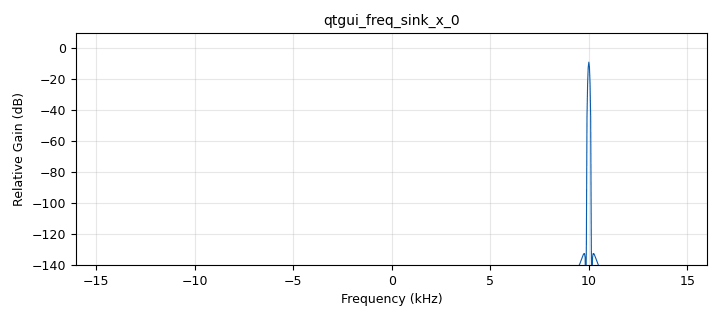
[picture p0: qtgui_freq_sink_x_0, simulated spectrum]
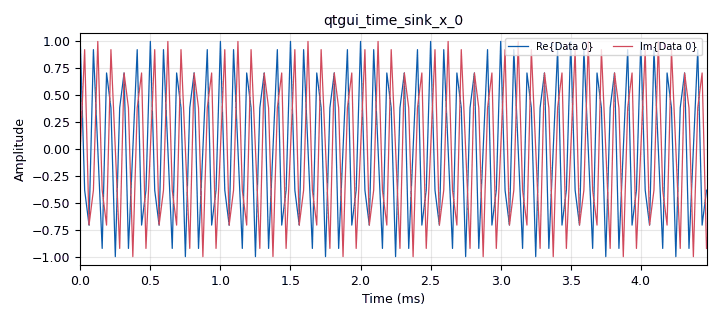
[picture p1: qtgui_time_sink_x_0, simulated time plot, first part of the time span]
options:
  parameters:
    generate_options: qt_gui
    id: andreteo
    output_language: python
    title: HR/BR Using Wireless and Machine Learning
  states: {}

blocks:
- name: samp_rate
  id: variable
  parameters:
    value: '32000'
  states: {}
- name: signal_source_freq
  id: variable
  parameters:
    value: ''
  states: {state: disabled}
- name: variable_qtgui_chooser_0
  id: variable_qtgui_chooser
  parameters:
    label0: 'Frequency: 10000'
    label1: 'Frequency: 1000'
    label2: 'Frequency: 2000'
    num_opts: '3'
    option0: '10000'
    option1: '1000'
    option2: '2000'
    type: int
    value: '10000'
  states: {}
- name: variable_qtgui_range_0
  id: variable_qtgui_range
  parameters:
    start: '-samp_rate/2'
    step: '100'
    stop: samp_rate/2
    value: '0'
  states: {}
- name: analog_sig_source_x_0
  id: analog_sig_source_x
  parameters:
    amp: '1'
    freq: variable_qtgui_chooser_0
    offset: '0'
    phase: '0'
    samp_rate: samp_rate
    type: complex
    waveform: analog.GR_COS_WAVE
  states: {}
- name: blocks_throttle2_0
  id: blocks_throttle2
  parameters:
    samples_per_second: samp_rate
    type: complex
  states: {}
- name: qtgui_freq_sink_x_0
  id: qtgui_freq_sink_x
  parameters:
    bw: samp_rate
    fc: '0'
    fftsize: '1024'
    type: complex
  states: {}
- name: qtgui_time_sink_x_0
  id: qtgui_time_sink_x
  parameters:
    size: '1024'
    srate: samp_rate
    type: complex
  states: {}

connections:
- [analog_sig_source_x_0, '0', blocks_throttle2_0, '0']
- [blocks_throttle2_0, '0', qtgui_freq_sink_x_0, '0']
- [blocks_throttle2_0, '0', qtgui_time_sink_x_0, '0']

metadata:
  file_format: 1
  grc_version: 3.10.10.0
